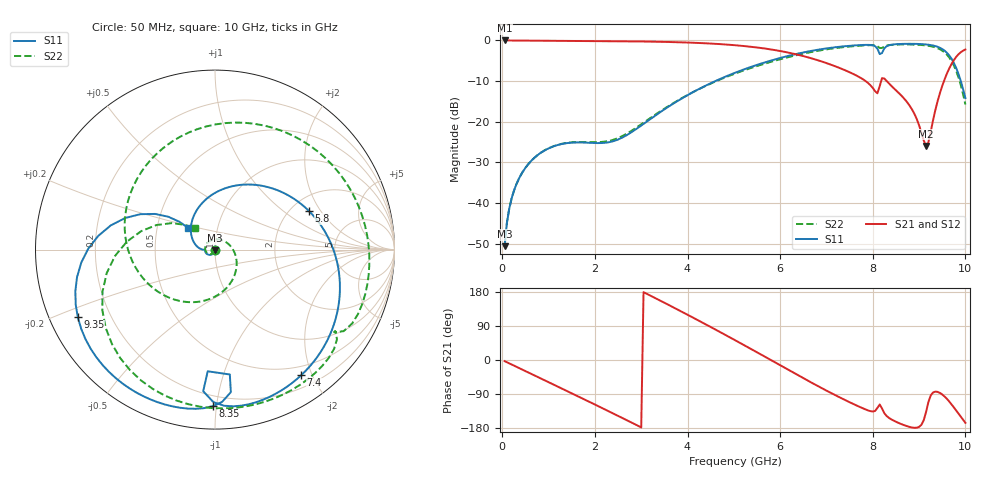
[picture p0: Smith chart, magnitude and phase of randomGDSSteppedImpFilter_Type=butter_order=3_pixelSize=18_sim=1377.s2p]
! freq	dB(S11)	phase(S11)	dB(S12)	phase(S12)
!  dB(S21)	phase(S21)	dB(S22)	phase(S22)
!S-par simulation data
#  GHz  S  DB  R 50
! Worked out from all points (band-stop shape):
!   200 points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, 50 MHz to 10 GHz, reference 50 ohm
!   highest |S21| = -0.01 dB at 50 MHz (marker M1); lowest = -26.0 dB at 9.15 GHz (marker M2)
!   |S21| within 3 dB of the highest: start of sweep to 6.183 GHz; 9.89 GHz to end of sweep
!   lowest |S11| = -50.6 dB at 50 MHz (marker M3), VSWR 1.01, Z = 50 - j0.293 ohm
!   |S11| at or under -10 dB: start of sweep to 4.599 GHz; 9.901 GHz to end of sweep
!   |S22| runs from -50.6 to -1.0 dB; largest |S21 - S12| = 0
!   S11 on the Smith chart (normalised r, x): 50 MHz: 1.00, -0.01; 5.8 GHz: 2.47, +1.57; 7.4 GHz: 0.37, -1.84; 8.35 GHz: 0.13, -0.98; 9.35 GHz: 0.08, -0.23; 10 GHz: 0.72, +0.18
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0.05  -50.59 -82.4  -0.01 -3.0  -0.01 -3.0  -50.60 -82.8
0.2  -38.91 -98.5  -0.02 -11.8  -0.02 -11.8  -38.92 -100.3
0.5  -31.32 -116.8  -0.04 -29.3  -0.04 -29.3  -31.32 -121.6
1.15  -25.88 -150.9  -0.09 -67.4  -0.09 -67.4  -25.83 -166.7
1.75  -25.11 -173.7  -0.13 -102.7  -0.13 -102.7  -24.98 144.5
2.65  -23.54 -179.8  -0.21 -156.5  -0.21 -156.5  -23.17 43.6
3.4  -17.71 158.6  -0.33 157.4  -0.33 157.4  -17.52 -26.0
4.25  -11.93 110.9  -0.63 103.4  -0.63 103.4  -11.95 -86.0
5.05  -7.84 63.5  -1.20 50.7  -1.20 50.7  -8.05 -143.9
5.8  -4.96 22.5  -2.21 -0.1  -2.21 -0.1  -5.27 154.9
6.2  -3.73 2.1  -3.05 -27.5  -3.05 -27.5  -4.04 120.2
6.7  -2.51 -22.5  -4.48 -61.3  -4.48 -61.3  -2.79 76.8
7.4  -1.42 -55.6  -7.32 -105.5  -7.32 -105.5  -1.61 20.3
8.1  -2.03 -94.8  -13.00 -126.4  -13.00 -126.4  -1.43 -32.4
8.2  -3.09 -83.2  -9.28 -128.2  -9.28 -128.2  -1.85 -34.1
8.35  -1.18 -90.8  -10.60 -152.8  -10.60 -152.8  -1.16 -43.5
8.85  -0.83 -118.9  -17.03 -178.2  -17.03 -178.2  -1.01 -79.5
9.15  -0.99 -137.7  -25.95 -137.6  -25.95 -137.6  -1.23 -104.4
9.35  -1.39 -153.7  -17.18 -83.4  -17.18 -83.4  -1.70 -125.1
9.55  -2.51 -174.4  -9.60 -96.3  -9.60 -96.3  -2.94 -151.7
9.75  -5.50 160.6  -4.86 -124.9  -4.86 -124.9  -6.14 174.8
10  -14.17 141.2  -2.24 -165.9  -2.24 -165.9  -15.75 133.5
